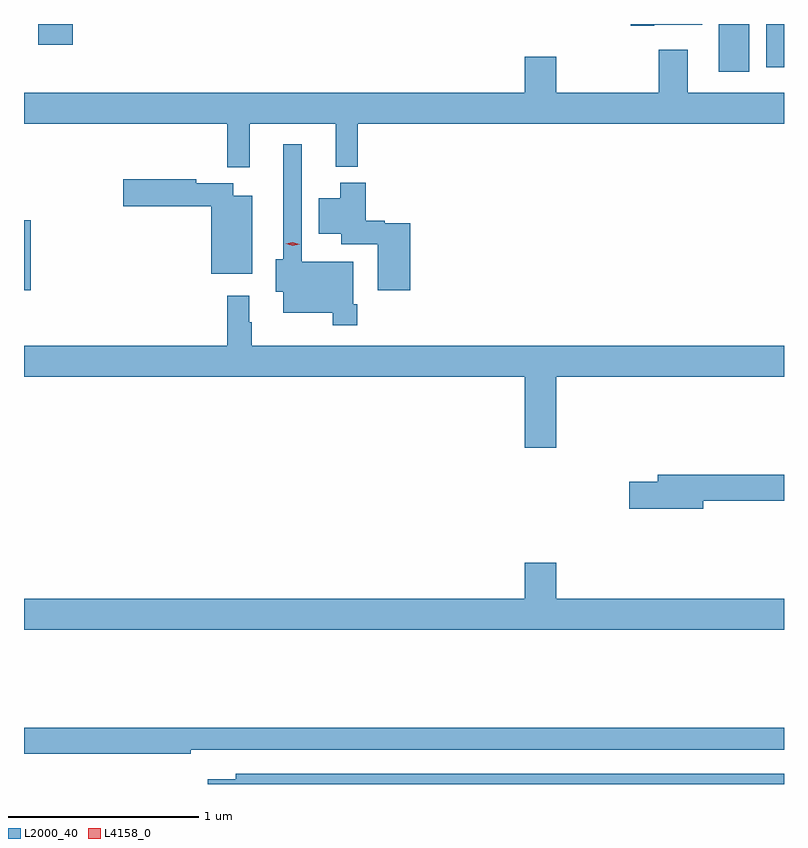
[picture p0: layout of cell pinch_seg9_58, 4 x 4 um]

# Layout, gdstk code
import gdstk
lib = gdstk.Library(unit=1e-6, precision=1e-09)
def R(c, l, rs):  # rectangles x0, y0, x1, y1
    for r in rs: c.add(gdstk.rectangle(r[:2], r[2:], *l))
def P(c, l, *ps):  # polygons
    for p in ps: c.add(gdstk.Polygon(p, *l))
L2000_40 = (2000, 40)
L4158_0 = (4158, 0)

pinch_seg9_58 = lib.new_cell('pinch_seg9_58')
R(pinch_seg9_58, L2000_40, [(965.568,1172.901,965.603,1173.268), (969.224,1174.05,969.385,1174.301), (969.474,1174.073,969.568,1174.301), (965.642,1174.191,965.825,1174.301)])
P(pinch_seg9_58, L2000_40, [(968.884,1174.298),(969.139,1174.298),(969.139,1174.301),(968.762,1174.301),(968.762,1174.291),(968.884,1174.291)],
  [(966.755,1173.776),(967.208,1173.776),(967.208,1173.551),(967.325,1173.551),(967.325,1173.776),(969.568,1173.776),(969.568,1173.94),(969.061,1173.94),(969.061,1174.165),(968.909,1174.165),(968.909,1173.94),(968.368,1173.94),(968.368,1174.129),(968.204,1174.129),(968.204,1173.94),(965.568,1173.94),(965.568,1173.776),(966.637,1173.776),(966.637,1173.548),(966.755,1173.548)],
  [(967.322,1172.827),(967.302,1172.827),(967.302,1173.049),(967.029,1173.049),(967.029,1173.667),(966.932,1173.667),(966.932,1173.062),(966.893,1173.062),(966.893,1172.891),(966.932,1172.891),(966.932,1172.78),(967.194,1172.78),(967.194,1172.715),(967.322,1172.715)],
  [(966.769,1173.397),(966.67,1173.397),(966.67,1173.463),(966.474,1173.463),(966.474,1173.483),(966.09,1173.483),(966.09,1173.341),(966.554,1173.341),(966.554,1172.987),(966.769,1172.987)],
  [(967.601,1173.253),(967.467,1173.253),(967.467,1173.266),(967.367,1173.266),(967.367,1173.466),(967.232,1173.466),(967.232,1173.385),(967.118,1173.385),(967.118,1173.197),(967.238,1173.197),(967.238,1173.143),(967.43,1173.143),(967.43,1172.901),(967.601,1172.901)],
  [(968.368,1172.444),(969.568,1172.444),(969.568,1172.608),(966.766,1172.608),(966.766,1172.732),(966.754,1172.732),(966.754,1172.872),(966.637,1172.872),(966.637,1172.608),(965.568,1172.608),(965.568,1172.444),(968.204,1172.444),(968.204,1172.07),(968.368,1172.07)],
  [(969.142,1171.792),(969.568,1171.792),(969.568,1171.928),(968.903,1171.928),(968.903,1171.892),(968.754,1171.892),(968.754,1171.75),(969.142,1171.75)],
  [(969.568,1171.276),(968.368,1171.276),(968.368,1171.465),(968.204,1171.465),(968.204,1171.276),(965.568,1171.276),(965.568,1171.112),(969.568,1171.112)],
  [(966.446,1170.48),(969.568,1170.48),(969.568,1170.596),(965.568,1170.596),(965.568,1170.46),(966.446,1170.46)],
  [(969.568,1170.354),(966.683,1170.354),(966.683,1170.325),(966.534,1170.325),(966.534,1170.301),(969.568,1170.301)])
P(pinch_seg9_58, L4158_0, [(966.982,1173.133),(966.946,1173.144),(966.946,1173.144),(966.946,1173.144),(966.982,1173.153),(967.017,1173.142),(967.018,1173.142),(967.017,1173.141)])

lib.write_gds('pinch_seg9_58.gds')
